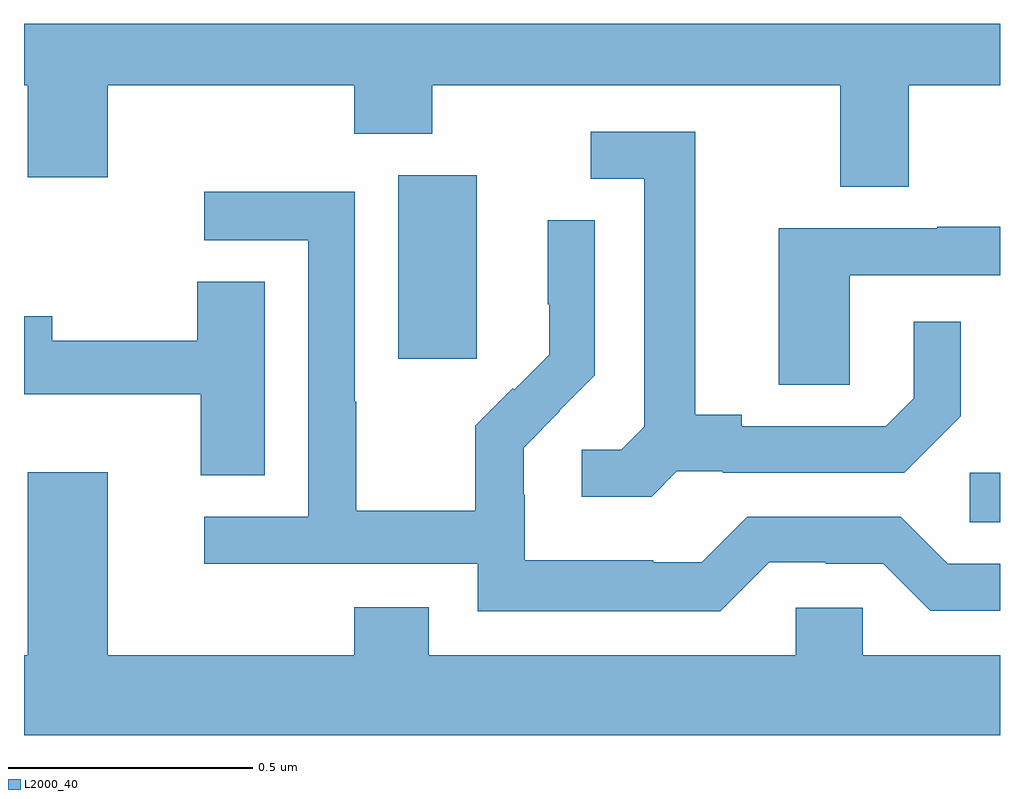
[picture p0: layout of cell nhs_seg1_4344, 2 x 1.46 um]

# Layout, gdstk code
import gdstk
lib = gdstk.Library(unit=1e-6, precision=1e-09)
def R(c, l, rs):  # rectangles x0, y0, x1, y1
    for r in rs: c.add(gdstk.rectangle(r[:2], r[2:], *l))
def P(c, l, *ps):  # polygons
    for p in ps: c.add(gdstk.Polygon(p, *l))
L2000_40 = (2000, 40)

nhs_seg1_4344 = lib.new_cell('nhs_seg1_4344')
R(nhs_seg1_4344, L2000_40, [(166.938,544.177,167,544.278), (165.767,544.512,165.928,544.888)])
P(nhs_seg1_4344, L2000_40, [(165,545.072),(165.008,545.072),(165.008,544.884),(165.172,544.884),(165.172,545.072),(165.677,545.072),(165.677,544.973),(165.837,544.973),(165.837,545.072),(166.673,545.072),(166.673,544.864),(166.813,544.864),(166.813,545.072),(167,545.072),(167,545.199),(165,545.199)],
  [(166.338,544.281),(166.432,544.281),(166.432,544.278),(166.804,544.278),(166.92,544.394),(166.92,544.588),(166.823,544.588),(166.823,544.431),(166.766,544.374),(166.471,544.374),(166.471,544.397),(166.375,544.397),(166.375,544.977),(166.161,544.977),(166.161,544.881),(166.271,544.881),(166.271,544.373),(166.224,544.326),(166.143,544.326),(166.143,544.229),(166.286,544.229)],
  [(166.527,544.095),(166.643,544.095),(166.643,544.092),(166.761,544.092),(166.857,543.996),(167,543.996),(167,544.092),(166.893,544.092),(166.797,544.188),(166.482,544.188),(166.389,544.095),(166.289,544.095),(166.289,544.099),(166.026,544.099),(166.026,544.233),(166.024,544.233),(166.024,544.33),(166.098,544.404),(166.097,544.405),(166.17,544.478),(166.17,544.796),(166.073,544.796),(166.073,544.624),(166.076,544.624),(166.076,544.52),(166.005,544.449),(166.002,544.452),(165.925,544.375),(165.925,544.201),(165.681,544.201),(165.681,544.424),(165.678,544.424),(165.678,544.854),(165.369,544.854),(165.369,544.755),(165.582,544.755),(165.582,544.188),(165.369,544.188),(165.369,544.092),(165.93,544.092),(165.93,543.995),(166.427,543.995)],
  [(166.692,544.683),(167,544.683),(167,544.783),(166.871,544.783),(166.871,544.779),(166.547,544.779),(166.547,544.459),(166.692,544.459)],
  [(165.493,544.67),(165.355,544.67),(165.355,544.549),(165.058,544.549),(165.058,544.599),(165,544.599),(165,544.439),(165.362,544.439),(165.362,544.273),(165.493,544.273)],
  [(167,543.904),(166.719,543.904),(166.719,544.002),(166.581,544.002),(166.581,543.904),(165.829,543.904),(165.829,544.003),(165.677,544.003),(165.677,543.904),(165.172,543.904),(165.172,544.279),(165.008,544.279),(165.008,543.904),(165,543.904),(165,543.74),(167,543.74)])

lib.write_gds('nhs_seg1_4344.gds')
